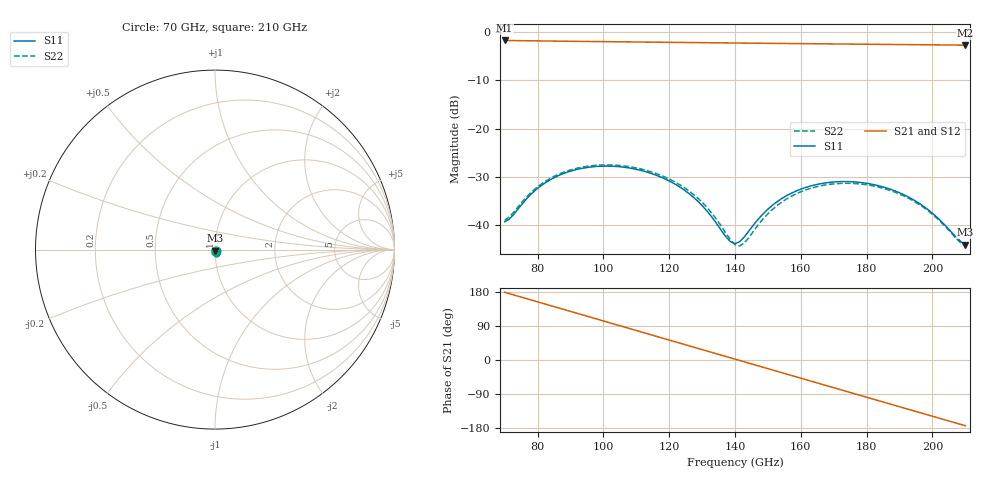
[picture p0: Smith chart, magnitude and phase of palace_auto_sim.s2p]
#  GHZ S DB R 50
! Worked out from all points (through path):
!   101 points, 70 GHz to 210 GHz, reference 50 ohm
!   highest |S21| = -1.72 dB at 70 GHz (marker M1); lowest = -2.7 dB at 210 GHz (marker M2)
!   group delay of S21, straight-line fit = 6.99 ps
!   lowest |S11| = -44.0 dB at 210 GHz (marker M3), VSWR 1.01, Z = 50 - j0.632 ohm
!   |S11| at or under -10 dB: start of sweep to end of sweep
!   |S22| runs from -44.3 to -27.5 dB; largest |S21 - S12| = 9.4e-14
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70  -39.25 -63.3  -1.72 178.7  -1.72 178.7  -38.93 -60.1
81.2  -31.71 -28.4  -1.82 150.5  -1.82 150.5  -31.40 -28.5
86.8  -29.55 -35.6  -1.87 136.4  -1.87 136.4  -29.29 -35.9
93.8  -28.14 -48.4  -1.92 118.7  -1.92 118.7  -27.90 -48.8
105  -27.85 -71.4  -2.00 90.5  -2.00 90.5  -27.59 -72.0
110.6  -28.48 -83.0  -2.04 76.3  -2.04 76.3  -28.18 -83.8
117.6  -30.02 -97.0  -2.09 58.7  -2.09 58.7  -29.66 -98.1
123.2  -32.04 -106.8  -2.13 44.6  -2.13 44.6  -31.57 -108.4
128.8  -35.05 -113.4  -2.17 30.5  -2.17 30.5  -34.42 -116.1
133  -38.30 -112.6  -2.20 19.9  -2.20 19.9  -37.49 -117.5
137.2  -42.32 -96.9  -2.23 9.3  -2.23 9.3  -41.57 -107.4
140  -43.77 -71.2  -2.25 2.3  -2.25 2.3  -43.97 -85.7
142.8  -42.39 -46.3  -2.27 -4.8  -2.27 -4.8  -43.64 -56.6
148.4  -37.69 -30.6  -2.30 -18.8  -2.30 -18.8  -38.75 -33.0
152.6  -35.18 -32.4  -2.33 -29.4  -2.33 -29.4  -35.98 -33.4
163.8  -31.68 -50.4  -2.40 -57.6  -2.40 -57.6  -32.16 -50.6
175  -30.94 -73.1  -2.47 -85.7  -2.47 -85.7  -31.28 -73.3
180.6  -31.34 -84.6  -2.51 -99.8  -2.51 -99.8  -31.65 -84.7
187.6  -32.60 -98.1  -2.55 -117.4  -2.55 -117.4  -32.86 -98.4
197.4  -36.10 -112.5  -2.62 -142.0  -2.62 -142.0  -36.32 -113.0
204.4  -40.38 -111.5  -2.66 -159.5  -2.66 -159.5  -40.59 -112.5
210  -43.99 -87.6  -2.69 -173.5  -2.69 -173.5  -44.28 -89.0
